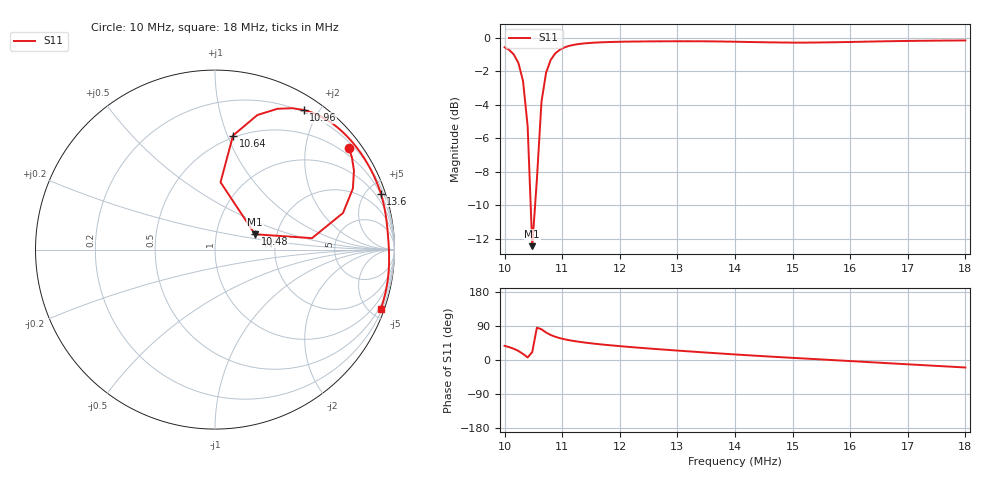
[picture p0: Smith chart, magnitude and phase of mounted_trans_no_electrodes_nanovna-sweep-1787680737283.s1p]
! NanoVNA Web complex sweep
! Processing: original sample grid, no browser smoothing
# Hz S RI R 50
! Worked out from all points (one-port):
!   101 points, 10 MHz to 18 MHz, reference 50 ohm
!   lowest |S11| = -12.4 dB at 10.48 MHz (marker M1), VSWR 1.63, Z = 77.1 + j14 ohm
!   |S11| at or under -10 dB: 10.45 MHz to 10.53 MHz (76.75 kHz wide, 0.732 % of centre)
!   S11 on the Smith chart (normalised r, x): 10 MHz: 0.32, +2.93; 10.48 MHz: 1.54, +0.28; 10.64 MHz: 0.48, +1.05; 10.96 MHz: 0.18, +1.80; 13.6 MHz: 0.48, +6.06; 18 MHz: 0.32, -5.73
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1e7  0.7447 0.5676
1.008e7  0.7629 0.5135
1.016e7  0.7742 0.4406
1.024e7  0.7682 0.34
1.032e7  0.7135 0.2045
1.04e7  0.5406 0.0638
1.048e7  0.2227 0.0854
1.056e7  0.0309 0.3753
1.064e7  0.1004 0.6354
1.072e7  0.2361 0.7499
1.08e7  0.3482 0.7846
1.088e7  0.4311 0.7878
1.096e7  0.4931 0.778
1.104e7  0.5403 0.7638
1.112e7  0.5788 0.7478
1.12e7  0.6099 0.7311
1.144e7  0.6797 0.6828
1.168e7  0.7301 0.6372
1.2e7  0.7806 0.5797
1.248e7  0.8386 0.4971
1.304e7  0.8885 0.4037
1.36e7  0.9242 0.3114
1.4e7  0.9411 0.2461
1.504e7  0.9627 0.0899
1.6e7  0.9695 -0.0489
1.648e7  0.9679 -0.1172
1.704e7  0.958 -0.1983
1.8e7  0.9237 -0.3314
